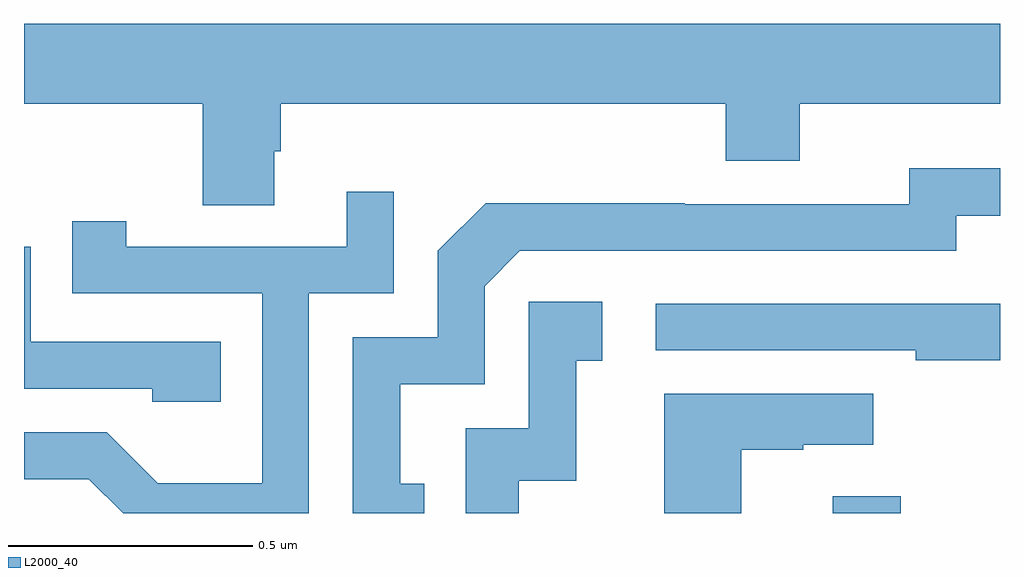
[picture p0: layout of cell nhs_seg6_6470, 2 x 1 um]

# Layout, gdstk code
import gdstk
lib = gdstk.Library(unit=1e-6, precision=1e-09)
def R(c, l, rs):  # rectangles x0, y0, x1, y1
    for r in rs: c.add(gdstk.rectangle(r[:2], r[2:], *l))
def P(c, l, *ps):  # polygons
    for p in ps: c.add(gdstk.Polygon(p, *l))
L2000_40 = (2000, 40)

nhs_seg6_6470 = lib.new_cell('nhs_seg6_6470')
R(nhs_seg6_6470, L2000_40, [(197.657,942.5,197.797,942.535)])
P(nhs_seg6_6470, L2000_40, [(196.513,943.242),(196.526,943.242),(196.526,943.34),(197.438,943.34),(197.438,943.223),(197.59,943.223),(197.59,943.34),(198,943.34),(198,943.504),(196,943.504),(196,943.34),(196.366,943.34),(196.366,943.132),(196.513,943.132)],
  [(196.82,942.561),(196.771,942.561),(196.771,942.765),(196.944,942.765),(196.944,942.966),(197.016,943.038),(197.91,943.038),(197.91,943.11),(198,943.11),(198,943.207),(197.814,943.207),(197.814,943.134),(197.354,943.134),(197.354,943.136),(196.946,943.136),(196.848,943.038),(196.848,942.861),(196.674,942.861),(196.674,942.5),(196.82,942.5)],
  [(196.584,942.951),(196.758,942.951),(196.758,943.159),(196.661,943.159),(196.661,943.047),(196.21,943.047),(196.21,943.099),(196.099,943.099),(196.099,942.951),(196.488,942.951),(196.488,942.562),(196.274,942.562),(196.17,942.666),(196,942.666),(196,942.57),(196.133,942.57),(196.203,942.5),(196.584,942.5)],
  [(196.403,942.852),(196.014,942.852),(196.014,943.047),(196,943.047),(196,942.756),(196.263,942.756),(196.263,942.729),(196.403,942.729)],
  [(197.014,942.567),(197.132,942.567),(197.132,942.813),(197.185,942.813),(197.185,942.934),(197.034,942.934),(197.034,942.675),(196.905,942.675),(196.905,942.5),(197.014,942.5)],
  [(198,942.93),(197.295,942.93),(197.295,942.834),(197.827,942.834),(197.827,942.814),(198,942.814)],
  [(197.47,942.631),(197.597,942.631),(197.597,942.641),(197.74,942.641),(197.74,942.745),(197.312,942.745),(197.312,942.5),(197.47,942.5)])

lib.write_gds('nhs_seg6_6470.gds')
